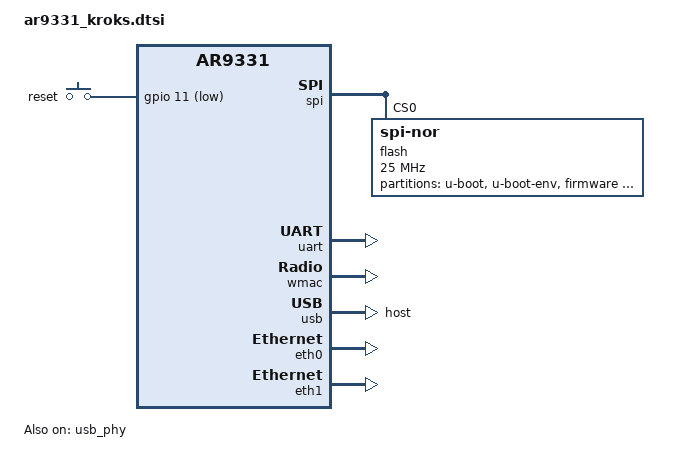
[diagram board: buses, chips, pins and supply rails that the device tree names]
// SPDX-License-Identifier: GPL-2.0-or-later OR MIT
/dts-v1/;

#include "ar9331.dtsi"

#include <dt-bindings/gpio/gpio.h>
#include <dt-bindings/input/input.h>

/ {
	chosen {
		bootargs = "console=ttyATH0,57600";
	};

	aliases {
		serial0 = &uart;
	};

	keys {
		compatible = "gpio-keys";

		reset {
			label = "reset";
			gpios = <&gpio 11 GPIO_ACTIVE_LOW>;
			linux,code = <KEY_RESTART>;
		};
	};
};

&spi {
	status = "okay";
	num-cs = <1>;

	flash@0 {
		compatible = "jedec,spi-nor";
		reg = <0>;
		spi-max-frequency = <25000000>;

		partitions {
			compatible = "fixed-partitions";
			#address-cells = <1>;
			#size-cells = <1>;

			partition@0 {
				label = "u-boot";
				reg = <0x0 0x10000>;
			};

			ubootenv: partition@10000 {
				label = "u-boot-env";
				reg = <0x10000 0x10000>;
			};

			partition@20000 {
				compatible = "tplink,firmware";
				label = "firmware";
				reg = <0x20000 0xed0000>;
			};

			partition@ef0000 {
				label = "memory";
				reg = <0xef0000 0x100000>;
			};

			art: partition@ff0000 {
				label = "art";
				reg = <0xff0000 0x10000>;
				read-only;
			};
		};
	};
};

&uart {
	status = "okay";
};

&wmac {
	status = "okay";
	mtd-cal-data = <&art 0x1000>;
	mtd-mac-address = <&ubootenv 0xfc00>;
};

&usb {
	dr_mode = "host";
	status = "okay";
};

&usb_phy {
	status = "okay";
};

&eth0 {
	status = "okay";

	mtd-mac-address = <&ubootenv 0xfc00>;
	mtd-mac-address-increment = <(-1)>;

	gmac-config {
		device = <&gmac>;

		switch-phy-addr-swap = <1>;
		switch-phy-swap = <1>;
	};
};

&eth1 {
	status = "okay";

	mtd-mac-address = <&ubootenv 0xfc00>;
	mtd-mac-address-increment = <1>;
};
